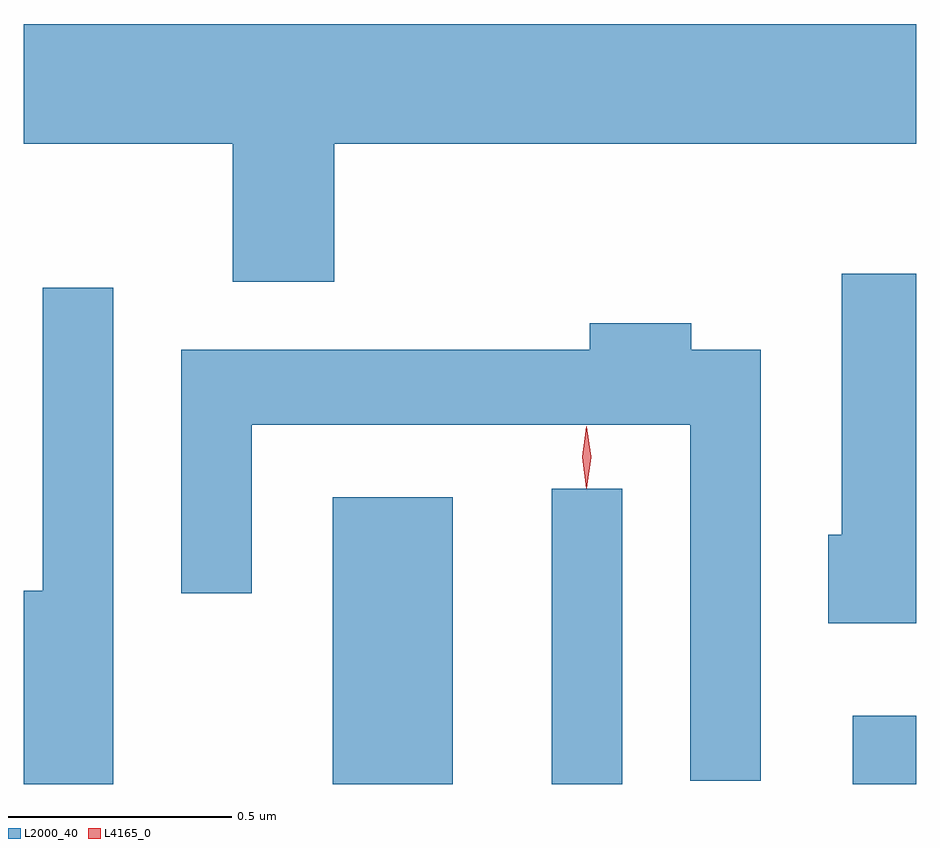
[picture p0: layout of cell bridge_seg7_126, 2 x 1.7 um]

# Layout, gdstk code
import gdstk
lib = gdstk.Library(unit=1e-6, precision=1e-09)
def R(c, l, rs):  # rectangles x0, y0, x1, y1
    for r in rs: c.add(gdstk.rectangle(r[:2], r[2:], *l))
def P(c, l, *ps):  # polygons
    for p in ps: c.add(gdstk.Polygon(p, *l))
L2000_40 = (2000, 40)
L4165_0 = (4165, 0)

bridge_seg7_126 = lib.new_cell('bridge_seg7_126')
R(bridge_seg7_126, L2000_40, [(1556.146,1803.901,1556.414,1804.544), (1556.636,1803.901,1556.794,1804.563), (1557.311,1803.901,1557.453,1804.054)])
P(bridge_seg7_126, L2000_40, [(1556.149,1805.336),(1557.453,1805.336),(1557.453,1805.604),(1555.453,1805.604),(1555.453,1805.336),(1555.921,1805.336),(1555.921,1805.026),(1556.149,1805.026)],
  [(1557.453,1805.044),(1557.286,1805.044),(1557.286,1804.459),(1557.256,1804.459),(1557.256,1804.261),(1557.453,1804.261)],
  [(1555.654,1805.013),(1555.496,1805.013),(1555.496,1804.334),(1555.453,1804.334),(1555.453,1803.901),(1555.654,1803.901)],
  [(1557.104,1804.874),(1556.949,1804.874),(1556.949,1804.934),(1556.721,1804.934),(1556.721,1804.874),(1555.806,1804.874),(1555.806,1804.328),(1555.964,1804.328),(1555.964,1804.706),(1556.946,1804.706),(1556.946,1803.908),(1557.104,1803.908)])
P(bridge_seg7_126, L4165_0, [(1556.715,1804.563),(1556.714,1804.564),(1556.705,1804.633),(1556.714,1804.702),(1556.715,1804.703),(1556.715,1804.702),(1556.725,1804.633),(1556.715,1804.564)],
  [(1556.715,1804.567),(1556.714,1804.568),(1556.705,1804.634),(1556.714,1804.7),(1556.715,1804.701),(1556.715,1804.7),(1556.725,1804.634),(1556.715,1804.568)])

lib.write_gds('bridge_seg7_126.gds')
